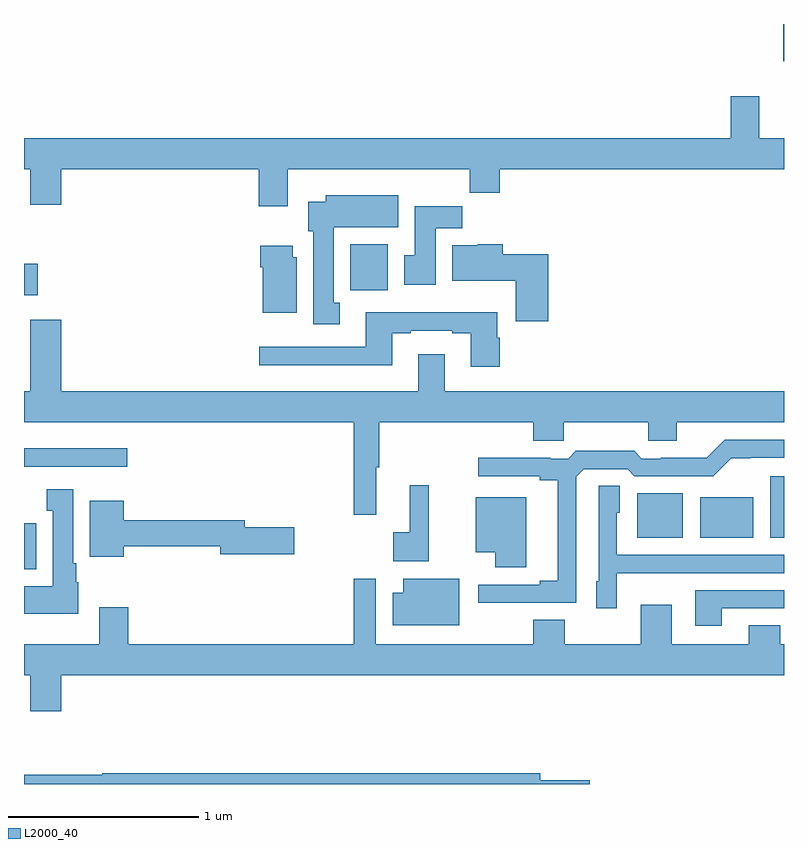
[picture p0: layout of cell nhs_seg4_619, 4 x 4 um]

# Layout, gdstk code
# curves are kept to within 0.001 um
import gdstk
lib = gdstk.Library(unit=1e-6, precision=1e-09)
def R(c, l, rs):  # rectangles x0, y0, x1, y1
    for r in rs: c.add(gdstk.rectangle(r[:2], r[2:], *l))
def P(c, l, *ps):  # polygons
    for p in ps: c.add(gdstk.Polygon(p, *l))
L2000_40 = (2000, 40)

nhs_seg4_619 = lib.new_cell('nhs_seg4_619')
R(nhs_seg4_619, L2000_40, [(141,812.03,141.064,812.272), (144.227,812.195,144.466,812.431), (144.56,812.195,144.838,812.41), (144.927,812.196,145,812.521), (141,812.571,141.544,812.668), (141,813.473,141.073,813.639), (142.718,813.5,142.915,813.742), (144.995,814.704,145,814.9)])
P(nhs_seg4_619, L2000_40, [(142.387,814.136),(143.347,814.136),(143.347,814.012),(143.504,814.012),(143.504,814.136),(145,814.136),(145,814.3),(144.871,814.3),(144.871,814.519),(144.719,814.519),(144.719,814.3),(141,814.3),(141,814.136),(141.032,814.136),(141.032,813.948),(141.196,813.948),(141.196,814.136),(142.235,814.136),(142.235,813.942),(142.387,813.942)],
  [(142.663,813.434),(142.63,813.434),(142.63,813.83),(142.969,813.83),(142.969,814),(142.589,814),(142.589,813.964),(142.496,813.964),(142.496,813.81),(142.523,813.81),(142.523,813.321),(142.663,813.321)],
  [(143.167,813.824),(143.306,813.824),(143.306,813.942),(143.057,813.942),(143.057,813.684),(143,813.684),(143,813.528),(143.167,813.528)],
  [(143.759,813.688),(143.519,813.688),(143.519,813.742),(143.388,813.742),(143.388,813.736),(143.255,813.736),(143.255,813.548),(143.588,813.548),(143.588,813.336),(143.759,813.336)],
  [(142.435,813.672),(142.414,813.672),(142.414,813.733),(142.244,813.733),(142.244,813.62),(142.256,813.62),(142.256,813.38),(142.435,813.38)],
  [(143.504,813.248),(143.491,813.248),(143.491,813.382),(142.799,813.382),(142.799,813.201),(142.239,813.201),(142.239,813.104),(142.939,813.104),(142.939,813.273),(143.035,813.273),(143.035,813.285),(143.255,813.285),(143.255,813.273),(143.351,813.273),(143.351,813.096),(143.504,813.096)],
  [(141.032,813.343),(141.032,812.968),(141,812.968),(141,812.804),(142.735,812.804),(142.735,812.316),(142.853,812.316),(142.853,812.568),(142.871,812.568),(142.871,812.804),(143.681,812.804),(143.681,812.706),(143.841,812.706),(143.841,812.804),(144.286,812.804),(144.286,812.706),(144.436,812.706),(144.436,812.804),(145,812.804),(145,812.968),(143.215,812.968),(143.215,813.163),(143.075,813.163),(143.075,812.968),(141.196,812.968),(141.196,813.343)],
  [(143.907,812.517),(143.946,812.556),(144.177,812.556),(144.213,812.52),(144.627,812.52),(144.722,812.615),(145,812.616),(145,812.712),(144.687,812.712),(144.593,812.618),(144.352,812.618),(144.352,812.613),(144.252,812.613),(144.213,812.653),(143.905,812.653),(143.865,812.613),(143.771,812.613),(143.771,812.618),(143.391,812.618),(143.391,812.52),(143.714,812.52),(143.714,812.498),(143.81,812.498),(143.81,811.97),(143.714,811.97),(143.714,811.95),(143.391,811.95),(143.391,811.854),(143.907,811.854)],
  [(143.13,812.473),(143.03,812.473),(143.03,812.225),(142.944,812.225),(142.944,812.072),(143.13,812.072)],
  [(144.12,812.009),(144.437,812.009),(144.437,812.01),(145,812.01),(145,812.106),(144.12,812.106),(144.12,812.328),(144.136,812.328),(144.136,812.471),(144.024,812.471),(144.024,811.968),(144.011,811.968),(144.011,811.824),(144.12,811.824)],
  [(141.286,811.962),(141.274,811.962),(141.274,812.062),(141.259,812.062),(141.259,812.452),(141.119,812.452),(141.119,812.339),(141.152,812.339),(141.152,811.942),(141,811.942),(141,811.796),(141.286,811.796)],
  [(143.644,812.41),(143.378,812.41),(143.378,812.12),(143.479,812.12),(143.479,812.04),(143.644,812.04)],
  [(141.526,812.152),(142.034,812.152),(142.034,812.11),(142.423,812.11),(142.423,812.252),(142.162,812.252),(142.162,812.288),(141.526,812.288),(141.526,812.392),(141.347,812.392),(141.347,812.096),(141.526,812.096)],
  [(141.196,811.472),(145,811.472),(145,811.636),(144.979,811.636),(144.979,811.735),(144.815,811.735),(144.815,811.636),(144.409,811.636),(144.409,811.843),(144.245,811.843),(144.245,811.636),(143.845,811.636),(143.845,811.765),(143.681,811.765),(143.681,811.636),(142.851,811.636),(142.851,811.981),(142.735,811.981),(142.735,811.636),(141.548,811.636),(141.548,811.831),(141.395,811.831),(141.395,811.636),(141,811.636),(141,811.472),(141.032,811.472),(141.032,811.284),(141.196,811.284)],
  [(143.29,811.981),(142.997,811.981),(142.997,811.906),(142.94,811.906),(142.94,811.736),(143.29,811.736)],
  [(144.673,811.824),(145,811.824),(145,811.92),(144.533,811.92),(144.533,811.734),(144.673,811.734)],
  [(143.977,810.92),(143.716,810.92),(143.716,810.956),(141.412,810.956),(141.412,810.949),(141,810.949),(141,810.9),(143.977,810.9)])

lib.write_gds('nhs_seg4_619.gds')
